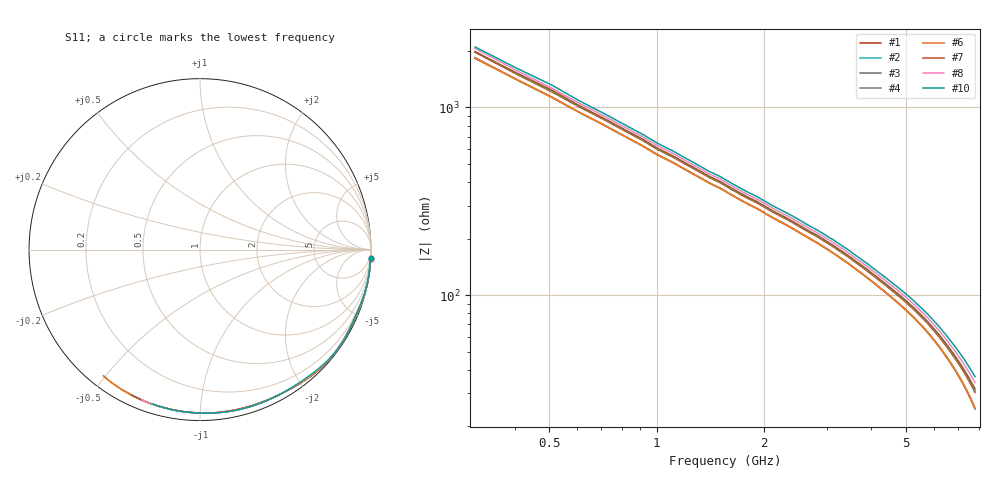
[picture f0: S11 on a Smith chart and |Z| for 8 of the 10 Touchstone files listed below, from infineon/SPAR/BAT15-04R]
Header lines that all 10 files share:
! Infineon Technologies  Discrete & RF Semiconductors
! BAT15-04R
! One-Port S-Parameters
# Hz  S  MA  R  50
!f  S11
!Hz  Mag  Ang
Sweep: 309.9 MHz to 7.806 GHz
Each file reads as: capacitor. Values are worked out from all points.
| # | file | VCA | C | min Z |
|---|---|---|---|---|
| 1 | BAT15-04R_VCA_0.7V.s1p | 0.7 V | 261 fF | 30.4 ohm |
| 2 | BAT15-04R_VCA_0.07V.s1p | 0.07 V | 279 fF | 24.7 ohm |
| 3 | BAT15-04R_VCA_0.8V.s1p | 0.8 V | 259 fF | 30.8 ohm |
| 4 | BAT15-04R_VCA_0.08V.s1p | 0.08 V | 278 fF | 24.9 ohm |
| 5 | BAT15-04R_VCA_0.9V.s1p | 0.9 V | 258 fF | 31.3 ohm |
| 6 | BAT15-04R_VCA_0.09V.s1p | 0.09 V | 278 fF | 25.1 ohm |
| 7 | BAT15-04R_VCA_1V.s1p | 1 V | 257 fF | 31.7 ohm |
| 8 | BAT15-04R_VCA_2V.s1p | 2 V | 249 fF | 34.3 ohm |
| 9 | BAT15-04R_VCA_3V.s1p | 3 V | 245 fF | 35.8 ohm |
| 10 | BAT15-04R_VCA_4V.s1p | 4 V | 242 fF | 36.8 ohm |
